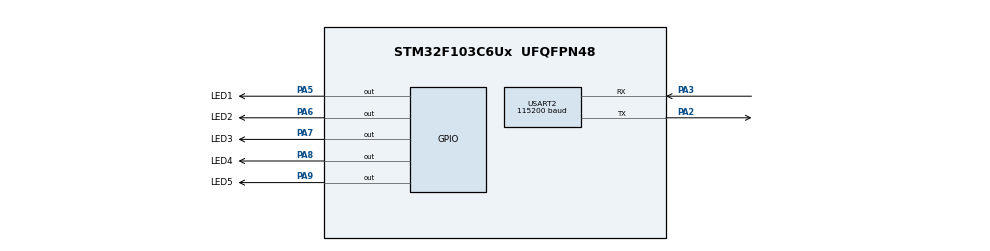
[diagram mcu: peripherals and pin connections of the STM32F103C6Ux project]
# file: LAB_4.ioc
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Mcu.Family=STM32F1
Mcu.Name=STM32F103C6Ux
Mcu.Package=UFQFPN48
NVIC.PriorityGroup=NVIC_PRIORITYGROUP_4
NVIC.TIM2_IRQn=true\:0\:0\:false\:false\:true\:true\:true
PA2.Mode=Asynchronous
PA2.Signal=USART2_TX
PA3.Mode=Asynchronous
PA3.Signal=USART2_RX
PA5.GPIO_Label=LED1
PA5.PinState=GPIO_PIN_SET
PA5.Signal=GPIO_Output
PA6.GPIO_Label=LED2
PA6.PinState=GPIO_PIN_SET
PA6.Signal=GPIO_Output
PA7.GPIO_Label=LED3
PA7.PinState=GPIO_PIN_SET
PA7.Signal=GPIO_Output
PA8.GPIO_Label=LED4
PA8.PinState=GPIO_PIN_SET
PA8.Signal=GPIO_Output
PA9.GPIO_Label=LED5
PA9.PinState=GPIO_PIN_SET
PA9.Signal=GPIO_Output
ProjectManager.HeapSize=0x200
ProjectManager.StackSize=0x400
ProjectManager.TargetToolchain=STM32CubeIDE
RCC.APB1Freq_Value=8000000
RCC.APB2Freq_Value=8000000
TIM2.Period=9
TIM2.Prescaler=7999
USART2.BaudRate=115200
USART2.VirtualMode=VM_ASYNC
VP_SYS_VS_ND.Mode=No_Debug
VP_TIM2_VS_ClockSourceINT.Mode=Internal
board=custom

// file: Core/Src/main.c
/* USER CODE BEGIN Header */
/**
  ******************************************************************************
  * @file           : main.c
  * @brief          : Main program body
  ******************************************************************************
  * @attention
  *
  * <h2><center>&copy; Copyright (c) 2026 STMicroelectronics.
  * All rights reserved.</center></h2>
  *
  * This software component is licensed by ST under BSD 3-Clause license,
  * the "License"; You may not use this file except in compliance with the
  * License. You may obtain a copy of the License at:
  *                        opensource.org/licenses/BSD-3-Clause
  *
  ******************************************************************************
  */
/* USER CODE END Header */
#include "main.h"

/* USER CODE BEGIN Includes */
#include "scheduler.h"
#include <string.h>
/* USER CODE END Includes */

TIM_HandleTypeDef htim2;

UART_HandleTypeDef huart2;

void SystemClock_Config(void);
static void MX_GPIO_Init(void);
static void MX_TIM2_Init(void);
static void MX_USART2_UART_Init(void);

/* USER CODE BEGIN 0 */
uint32_t id10ms;

/* In chuoi ra Virtual Terminal qua USART2 */
void print(char *s) {
    HAL_UART_Transmit(&huart2, (uint8_t *)s, strlen(s), 100);
}

/* In: <label>t=<thoi gian>\r\n  (tu doi so sang chuoi, khong dung sprintf) */
void printTime(char *label) {
    char buf[12];
    int i = 10;
    uint32_t t = get_time();

    buf[11] = '\0';
    do {                               /* lay tung chu so tu phai sang trai */
        buf[i--] = '0' + (t % 10);
        t /= 10;
    } while (t > 0);

    print(label);
    print("t=");
    print(&buf[i + 1]);
    print("\r\n");
}

/* 5 task dinh ky theo de bai: 0.5 s, 1 s, 1.5 s, 2 s, 2.5 s */
void task1(void) { HAL_GPIO_TogglePin(LED1_GPIO_Port, LED1_Pin); printTime("[0.5s] "); }
void task2(void) { HAL_GPIO_TogglePin(LED2_GPIO_Port, LED2_Pin); printTime("[1.0s] "); }
void task3(void) { HAL_GPIO_TogglePin(LED3_GPIO_Port, LED3_Pin); printTime("[1.5s] "); }
void task4(void) { HAL_GPIO_TogglePin(LED4_GPIO_Port, LED4_Pin); printTime("[2.0s] "); }
void task5(void) { HAL_GPIO_TogglePin(LED5_GPIO_Port, LED5_Pin); printTime("[2.5s] "); }

/* Demo: task 10 ms, in get_time() moi lan duoc goi */
void task10ms(void) { printTime(""); }

/* Demo: task chay 1 lan, in thoi diem het delay */
void oneShotA(void) { printTime("One-shot A (3000 ms): "); }
void oneShotB(void) { printTime("One-shot B (5000 ms): "); }
void oneShotC(void) { printTime("One-shot C (7000 ms): "); }

/* Demo SCH_Delete_Task: xoa task 10 ms sau 1 s de terminal de doc */
void stop10ms(void) {
    if (SCH_Delete_Task(id10ms)) printTime("Delete task 10ms OK: ");
    else                         printTime("Delete task 10ms FAIL: ");
}
/* USER CODE END 0 */

int main(void)
{

  /* MCU Configuration--------------------------------------------------------*/

  /* Reset of all peripherals, Initializes the Flash interface and the Systick. */
  HAL_Init();

  /* Configure the system clock */
  SystemClock_Config();

  /* Initialize all configured peripherals */
  MX_GPIO_Init();
  MX_TIM2_Init();
  MX_USART2_UART_Init();
  /* USER CODE BEGIN 2 */
  SCH_Init();
  print("Lab 4 - Cooperative scheduler\r\n");

  /* 5 task dinh ky (de bai) */
  SCH_Add_Task(task1,  500,  500);
  SCH_Add_Task(task2, 1000, 1000);
  SCH_Add_Task(task3, 1500, 1500);
  SCH_Add_Task(task4, 2000, 2000);
  SCH_Add_Task(task5, 2500, 2500);

  /* Demo: task 10 ms in get_time(), xoa sau 1 s */
  id10ms = SCH_Add_Task(task10ms, 0, 10);
  SCH_Add_Task(stop10ms, 1000, 0);

  /* Demo: cac task 1 lan, delay du dai de vao while(1) truoc */
  SCH_Add_Task(oneShotA, 3000, 0);
  SCH_Add_Task(oneShotB, 5000, 0);
  SCH_Add_Task(oneShotC, 7000, 0);

  HAL_TIM_Base_Start_IT(&htim2);
  /* USER CODE END 2 */

  /* Infinite loop */
  while (1)
  {

    /* USER CODE BEGIN 3 */
    SCH_Dispatch_Tasks();
  }
  /* USER CODE END 3 */
}

void SystemClock_Config(void)
{
  RCC_OscInitTypeDef RCC_OscInitStruct = {0};
  RCC_ClkInitTypeDef RCC_ClkInitStruct = {0};

  /** Initializes the RCC Oscillators according to the specified parameters
  * in the RCC_OscInitTypeDef structure.
  */
  RCC_OscInitStruct.OscillatorType = RCC_OSCILLATORTYPE_HSI;
  RCC_OscInitStruct.HSIState = RCC_HSI_ON;
  RCC_OscInitStruct.HSICalibrationValue = RCC_HSICALIBRATION_DEFAULT;
  RCC_OscInitStruct.PLL.PLLState = RCC_PLL_NONE;
  if (HAL_RCC_OscConfig(&RCC_OscInitStruct) != HAL_OK)
  {
    Error_Handler();
  }
  /** Initializes the CPU, AHB and APB buses clocks
  */
  RCC_ClkInitStruct.ClockType = RCC_CLOCKTYPE_HCLK|RCC_CLOCKTYPE_SYSCLK
                              |RCC_CLOCKTYPE_PCLK1|RCC_CLOCKTYPE_PCLK2;
  RCC_ClkInitStruct.SYSCLKSource = RCC_SYSCLKSOURCE_HSI;
  RCC_ClkInitStruct.AHBCLKDivider = RCC_SYSCLK_DIV1;
  RCC_ClkInitStruct.APB1CLKDivider = RCC_HCLK_DIV1;
  RCC_ClkInitStruct.APB2CLKDivider = RCC_HCLK_DIV1;

  if (HAL_RCC_ClockConfig(&RCC_ClkInitStruct, FLASH_LATENCY_0) != HAL_OK)
  {
    Error_Handler();
  }
}

static void MX_TIM2_Init(void)
{

  TIM_ClockConfigTypeDef sClockSourceConfig = {0};
  TIM_MasterConfigTypeDef sMasterConfig = {0};

  htim2.Instance = TIM2;
  htim2.Init.Prescaler = 7999;
  htim2.Init.CounterMode = TIM_COUNTERMODE_UP;
  htim2.Init.Period = 9;
  htim2.Init.ClockDivision = TIM_CLOCKDIVISION_DIV1;
  htim2.Init.AutoReloadPreload = TIM_AUTORELOAD_PRELOAD_DISABLE;
  if (HAL_TIM_Base_Init(&htim2) != HAL_OK)
  {
    Error_Handler();
  }
  sClockSourceConfig.ClockSource = TIM_CLOCKSOURCE_INTERNAL;
  if (HAL_TIM_ConfigClockSource(&htim2, &sClockSourceConfig) != HAL_OK)
  {
    Error_Handler();
  }
  sMasterConfig.MasterOutputTrigger = TIM_TRGO_RESET;
  sMasterConfig.MasterSlaveMode = TIM_MASTERSLAVEMODE_DISABLE;
  if (HAL_TIMEx_MasterConfigSynchronization(&htim2, &sMasterConfig) != HAL_OK)
  {
    Error_Handler();
  }

}

static void MX_USART2_UART_Init(void)
{

  huart2.Instance = USART2;
  huart2.Init.BaudRate = 115200;
  huart2.Init.WordLength = UART_WORDLENGTH_8B;
  huart2.Init.StopBits = UART_STOPBITS_1;
  huart2.Init.Parity = UART_PARITY_NONE;
  huart2.Init.Mode = UART_MODE_TX_RX;
  huart2.Init.HwFlowCtl = UART_HWCONTROL_NONE;
  huart2.Init.OverSampling = UART_OVERSAMPLING_16;
  if (HAL_UART_Init(&huart2) != HAL_OK)
  {
    Error_Handler();
  }

}

static void MX_GPIO_Init(void)
{
  GPIO_InitTypeDef GPIO_InitStruct = {0};

  /* GPIO Ports Clock Enable */
  __HAL_RCC_GPIOA_CLK_ENABLE();

  /*Configure GPIO pin Output Level */
  HAL_GPIO_WritePin(GPIOA, LED1_Pin|LED2_Pin|LED3_Pin|LED4_Pin
                          |LED5_Pin, GPIO_PIN_SET);

  /*Configure GPIO pins : LED1_Pin LED2_Pin LED3_Pin LED4_Pin
                           LED5_Pin */
  GPIO_InitStruct.Pin = LED1_Pin|LED2_Pin|LED3_Pin|LED4_Pin
                          |LED5_Pin;
  GPIO_InitStruct.Mode = GPIO_MODE_OUTPUT_PP;
  GPIO_InitStruct.Pull = GPIO_NOPULL;
  GPIO_InitStruct.Speed = GPIO_SPEED_FREQ_LOW;
  HAL_GPIO_Init(GPIOA, &GPIO_InitStruct);

}

/* USER CODE BEGIN 4 */
void HAL_TIM_PeriodElapsedCallback(TIM_HandleTypeDef *htim)
{
  if (htim->Instance == TIM2) {
    SCH_Update();
  }
}
/* USER CODE END 4 */

void Error_Handler(void)
{
  __disable_irq();
  while (1)
  {
  }
}

/************************ (C) COPYRIGHT STMicroelectronics *****END OF FILE****/
